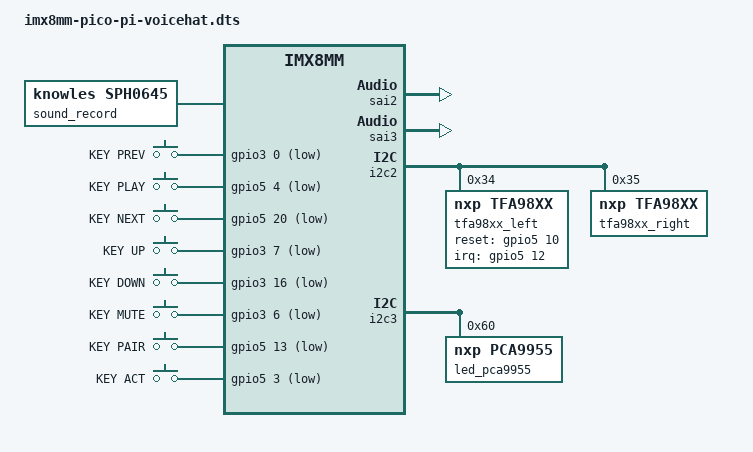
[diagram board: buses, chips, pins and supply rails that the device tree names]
/*
 * Copyright 2018 Technexion Ltd.
 * Copyright 2018 NXP
 *
 * Author: Richard Hu <richard.hu@technexion.com>
 *
 * This program is free software; you can redistribute it and/or
 * modify it under the terms of the GNU General Public License
 * as published by the Free Software Foundation; either version 2
 * of the License, or (at your option) any later version.
 *
 * This program is distributed in the hope that it will be useful,
 * but WITHOUT ANY WARRANTY; without even the implied warranty of
 * MERCHANTABILITY or FITNESS FOR A PARTICULAR PURPOSE.  See the
 * GNU General Public License for more details.
 */

#include <dt-bindings/input/input.h>
#include "imx8mm-pico-pi.dts"

/ {
	sound-tfa9912 {
		compatible = "nxp,imx-audio-tfa98xx", "nxp,imx-tfa98xx";
		nxp,model = "TFA9912";
		cpu-dai = <&sai2>;
		ssi-controller = <&sai2>;
		nxp,audio-codec = <&tfa98xx_left &tfa98xx_right>;
		nxp,audio-routing =
			"Speaker", "OUTL",
			"DMIC1", "Mic",
			"DMIC2", "Mic",
			"DMIC3", "Mic",
			"DMIC4", "Mic";
	};

	sound-sph0645 {
		compatible = "nxp,imx-audio-sph0645", "nxp,imx-sph0645";
		nxp,model = "SPH0645";
		cpu-dai = <&sai3>;
		ssi-controller = <&sai3>;
		nxp,audio-codec = <&sound_record>;
	};

	sound_record: codec {
		compatible = "knowles,sph0645";
	};

	gpio_keys {
		compatible = "gpio-keys";
		pinctrl-names = "default";
		pinctrl-0 = <&pinctrl_gpio_key_voicehat>;

		prev {
			gpios = <&gpio3 0 GPIO_ACTIVE_LOW>;
			label = "KEY PREV";
			linux,code = <KEY_PREVIOUS>;
		};

		play {
			gpios = <&gpio5 4 GPIO_ACTIVE_LOW>;
			label = "KEY PLAY";
			linux,code = <KEY_PLAY>;
		};

		next {
			gpios = <&gpio5 20 GPIO_ACTIVE_LOW>;
			label = "KEY NEXT";
			linux,code = <KEY_NEXT>;
		};

		up {
			gpios = <&gpio3 7 GPIO_ACTIVE_LOW>;
			label = "KEY UP";
			linux,code = <KEY_UP>;
		};

		down {
			gpios = <&gpio3 16 GPIO_ACTIVE_LOW>;
			label = "KEY DOWN";
			linux,code = <KEY_DOWN>;
		};

		mute {
			gpios = <&gpio3 6 GPIO_ACTIVE_LOW>;
			label = "KEY MUTE";
			linux,code = <KEY_MUTE>;
		};

		pair {
			gpios = <&gpio5 13 GPIO_ACTIVE_LOW>;
			label = "KEY PAIR";
			linux,code = <KEY_SELECT>;
		};

		act {
			gpios = <&gpio5 3 GPIO_ACTIVE_LOW>;
			label = "KEY ACT";
			linux,code = <KEY_OK>;
		};
	};
};

&ecspi2 {
	status = "disabled";
};

&sai2 {
	status = "okay";
};

&sai3 {
	status = "okay";
};

&i2c2 {
	tfa98xx_left: tfa98xx_left@34 {
		compatible = "nxp,tfa98xx";
		pinctrl-names = "default";
		pinctrl-0 = <&pinctrl_tfa98xx>;
		reg = <0x34>;
		reset-gpio = <&gpio5 10 GPIO_ACTIVE_HIGH>;
		irq-gpio = <&gpio5 12 GPIO_ACTIVE_HIGH>;
	};

	tfa98xx_right: tfa98xx_right@35 {
		compatible = "nxp,tfa98xx";
		reg = <0x35>;
	};
};

&i2c3 {
	/* PCA9955 - 16-bit RGB LED */
	led_pca9955: pca9955@60 {
		#address-cells = <1>;
		#size-cells = <0>;
		compatible = "nxp,pca9955";
		reg = <0x60>;

		led0 {
			label = "blue0";
			linux,default-trigger = "none";
			reg = <0>;
		};

		led1 {
			label = "green0";
			linux,default-trigger = "none";
			reg = <1>;
		};

		led2 {
			label = "red0";
			linux,default-trigger = "none";
			reg = <2>;
		};

		led3 {
			label = "blue1";
			linux,default-trigger = "none";
			reg = <3>;
		};

		led4 {
			label = "green1";
			linux,default-trigger = "none";
			reg = <4>;
		};

		led5 {
			label = "red1";
			linux,default-trigger = "none";
			reg = <5>;
		};

		led6 {
			label = "blue2";
			linux,default-trigger = "none";
			reg = <6>;
		};

		led7 {
			label = "green2";
			linux,default-trigger = "none";
			reg = <7>;
		};

		led8 {
			label = "red2";
			linux,default-trigger = "none";
			reg = <8>;
		};

		led9 {
			label = "blue3";
			linux,default-trigger = "none";
			reg = <9>;
		};

		led10 {
			label = "green3";
			linux,default-trigger = "none";
			reg = <10>;
		};

		led11 {
			label = "red3";
			linux,default-trigger = "none";
			reg = <11>;
		};

		led12 {
			label = "blue4";
			linux,default-trigger = "none";
			reg = <12>;
		};

		led13 {
			label = "green4";
			linux,default-trigger = "none";
			reg = <13>;
		};

		led14 {
			label = "red4";
			linux,default-trigger = "none";
			reg = <14>;
		};

		led15 {
			label = "blue5";
			linux,default-trigger = "none";
			reg = <15>;
		};
	};
};
